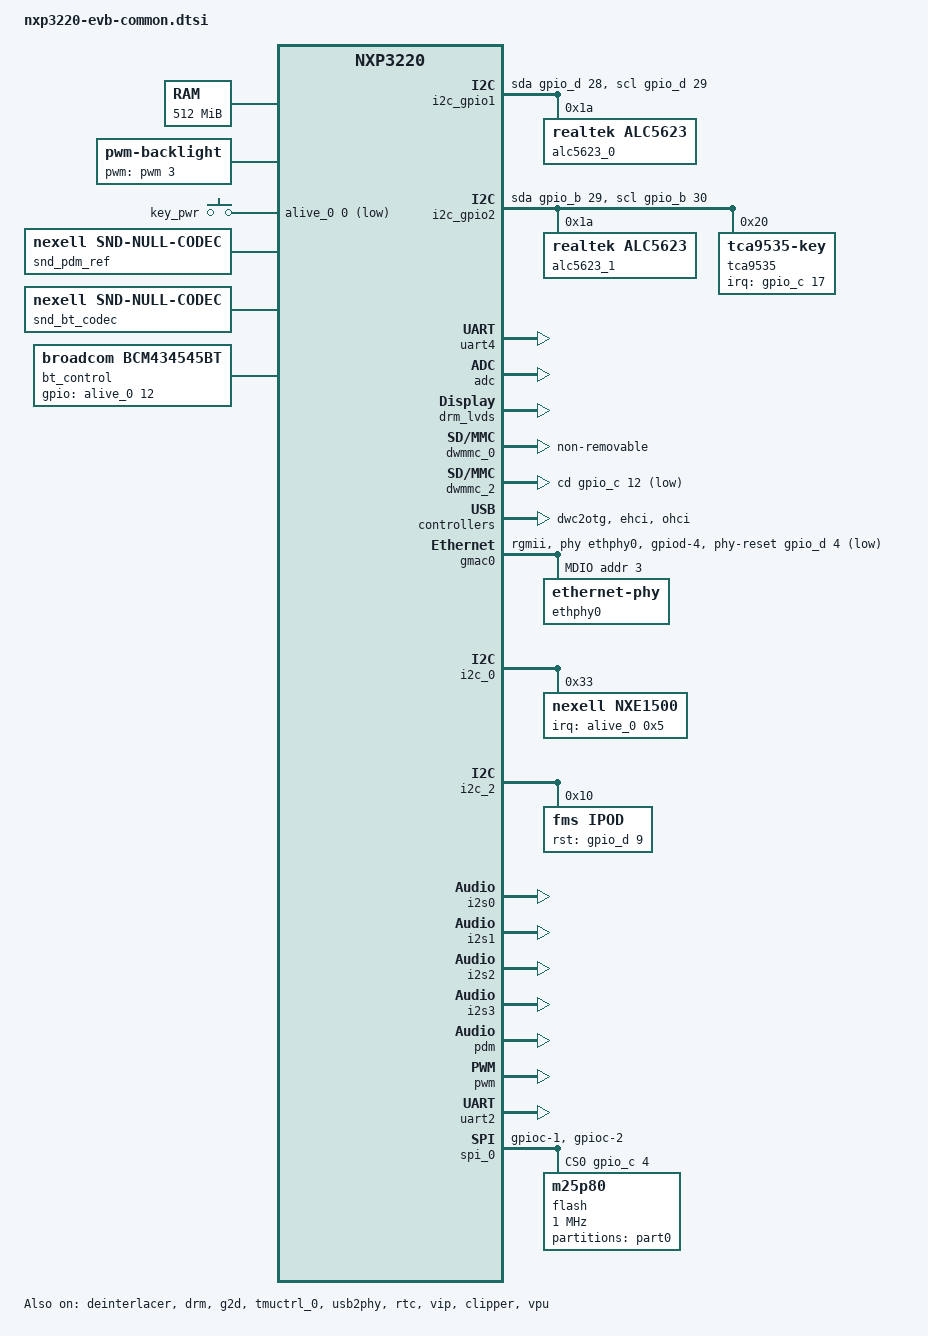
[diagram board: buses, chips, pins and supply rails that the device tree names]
// SPDX-License-Identifier: (GPL-2.0+ OR MIT)
/*
 * Copyright (C) 2018  Nexell Co., Ltd.
 * Author: JungHyun, Kim <jhkim@nexell.co.kr>
 */

/dts-v1/;

#include <dt-bindings/gpio/gpio.h>
#include <dt-bindings/input/input.h>
#include "nxp3220.dtsi"

#define PMIC_PDATA_INIT(_id, _rname, _minuv,		\
                        _maxuv, _init_uv, _init_enable,	\
                        _set_init_uV, _slp_slots)	\
                regulator-name = _rname;                \
                regulator-min-microvolt = <_minuv>;     \
                regulator-max-microvolt = <_maxuv>;     \
                nx,id = <_id>;                          \
                nx,init_enable = <_init_enable>;        \
                nx,init_uV = <_init_uv>;                \
                nx,set_init_uV = <_set_init_uV>;        \
                nx,sleep_slots = <_slp_slots>;

/ {
	compatible = "nexell,nxp3220-evb", "nexell,nxp3220";

	chosen {
		stdout-path = &uart2;
	};

	memory@40000000 {
		device_type = "memory";
		reg = <0x40000000 0x20000000>;
	};

	reserved-memory {
		#address-cells = <1>;
		#size-cells = <1>;
		ranges;

		bl32_mem: bl32_mem@5f000000 {
			reg = <0x5f000000 0x1000000>;
			no-map;
		};
	};

	backlight: pwm-backlight {
		compatible = "pwm-backlight";
		pwms = <&pwm 3 20000 1>;
		pwm-names = "pwm-backlight";

		brightness-levels = <30 31 32 33 34 35 36 37 38 39
				40 41 42 43 44 45 46 47 48 49
				50 51 52 53 54 55 56 57 58 59
				60 61 62 63 64 65 66 67 68 69
				70 71 72 73 74 75 76 77 78 79
				80 81 82 83 84 85 86 87 88 89
				90>;
		default-brightness-level = <45>;
		status = "okay";
	};

	gpio_keys {
		compatible = "gpio-keys";
		#address-cells = <1>;
		#size-cells = <0>;
		pinctrl-names = "default";
		pinctrl-0 = <&key_pwr>;

		button@pwr {
			label = "key_pwr";
			gpios = <&alive_0 0 GPIO_ACTIVE_LOW>;
			linux,code = <KEY_POWER>;
			gpio-key,wakeup;
		};
	};

	i2c_gpio1: i2c@1 {
		compatible = "i2c-gpio";
		gpios = <&gpio_d 28 0 /* sda */
			&gpio_d 29 0 /* scl */>;
		i2c-gpio,delay-us = <2>;
		#address-cells = <1>;
		#size-cells = <0>;

		alc5623_0: alc5623@1a {
			#sound-dai-cells = <0>;
			compatible = "realtek,alc5623";
			reg = <0x1a>;
		};
	};

	i2c_gpio2: i2c@2 {
		compatible = "i2c-gpio";
		gpios = <&gpio_b 29 0 /* sda */
			&gpio_b 30 0 /* scl */>;
		i2c-gpio,delay-us = <2>;
		#address-cells = <1>;
		#size-cells = <0>;
	};

	snd_pdm_ref:snd_ref_pdm@0 {
		#sound-dai-cells = <0>;
		compatible = "nexell,snd-null-codec";
		status = "okay";
	};

	snd_bt_codec:snd_bt_codec@0 {
		#sound-dai-cells = <0>;
		compatible = "nexell,snd-null-codec";
		status = "okay";
	};

	sound0: sound0 {
		compatible = "simple-audio-card";
		simple-audio-card,name = "nxp3220 Audio Card ALC5623 0";
		status = "okay";

		simple-audio-card,dai-link@0 {
			mclk-fs = <256>;
			format = "i2s";
			frame-master = <&sndcpu0>;
			bitclock-master = <&sndcpu0>;

			sndcpu0: cpu  {
				sound-dai = <&i2s0 0>;
			};

			sndcodec0: codec {
				sound-dai = <&alc5623_0>;
			};
		};
	};

	sound1: sound1 {
		compatible = "simple-audio-card";
		simple-audio-card,name = "nxp3220 Audio Card ALC5623 1";
		status = "okay";

		simple-audio-card,dai-link@0 {
			mclk-fs = <256>;
			format = "i2s";
			frame-master = <&sndcpu1>;
			bitclock-master = <&sndcpu1>;

			sndcpu1: cpu  {
				sound-dai = <&i2s1 0>;
			};

			sndcodec1: codec {
				sound-dai = <&alc5623_1>;
			};
		};
	};

	sound2: sound2 {
		compatible = "simple-audio-card";
		simple-audio-card,name = "nxp3220 blutooth hs sco";
		status = "okay";

		simple-audio-card,dai-link@0 {
			mclk-fs = <256>;
			format = "i2s";
			frame-master = <&sndcodec2>;
			bitclock-master = <&sndcodec2>;

			sndcpu2: cpu  {
				sound-dai = <&i2s2 0>;
			};

			sndcodec2: codec {
				sound-dai = <&snd_bt_codec>;
			};
		};
	};

	/* PDM Reference IIS */
	sound3: sound3 {
		compatible = "simple-audio-card";
		simple-audio-card,name = "nxp3220 PDM Reference I2S";
		status = "okay";

		simple-audio-card,dai-link@0 {
			mclk-fs = <256>;
			format = "i2s";
			frame-master = <&sndcodec2>;
			bitclock-master = <&sndcodec2>;

			sndcpu3: cpu  {
				sound-dai = <&i2s3 0>;
			};

			sndcodec3: codec {
				sound-dai = <&snd_pdm_ref>;
			};
		};
	};

	sound-pdm {
		compatible = "nexell,nxp3220-pdm-card";
		snd-controller = <&pdm>;
	};

	thermal-zones {
		cpu_thermal: cpu-thermal {
			thermal-sensors = <&tmuctrl_0>;
			polling-delay-passive = <1000>;
			polling-delay = <1000>;
			/*
			trips {
				cpu_alert0: cpu-alert-0 {
					temperature = <40000>;
					hysteresis = <10000>;
					type = "passive";
				};
				cpu_alert1: cpu-alert-1 {
					temperature = <50000>;
					hysteresis = <10000>;
					type = "passive";
				};
				cpu_alert2: cpu-alert-2 {
					temperature = <55000>;
					hysteresis = <10000>;
					type = "passive";
				};
				cpu-crit-0 {
					temperature = <100000>;
					hysteresis = <10000>;
					type = "critical";
				};
			};
			*/
		};
	};

	nx-v4l2 {
		status = "okay";
	};

	bt_control {
		compatible = "broadcom,bcm434545bt";
		gpios = <&alive_0 12 0>;   /* Alive GPIO12 = BT_REG_ON, output */
		pinctrl-names = "bt reg on";
		pinctrl-0 = <&bt_reg_on>;
		status = "okay";
	};
};

&uart4 {
	pinctrl-0 = <&uart4_bus>, <&uart4_hflow>;
	status = "okay";
};

&adc {
	touchscreen-enable;
	ts-sample-time = <4>;
	status = "okay";
};

&deinterlacer {
	status = "okay";
};

&drm {
        status = "okay";
	color-key-disable;
	alphablend-disable;
};

&drm_lvds {
        backlight = <&backlight>;
        backlight-delay = <100>;
	enable-gpios = <&gpio_e 13 GPIO_ACTIVE_HIGH>,
		<&gpio_e 12 GPIO_ACTIVE_HIGH>,
		<&gpio_e 14 GPIO_ACTIVE_HIGH>;
        status = "okay";

	display-timing {
		clock-frequency = <51206400>;
		hactive = <1024>;
		vactive = <600>;
		hfront-porch = <160>;
		hback-porch = <140>;
		hsync-len = <20>;
		vfront-porch = <12>;
		vback-porch = <20>;
		vsync-len = <3>;
	};
};

&dwmmc_0 {
	cap-mmc-highspeed;
	mmc-ddr-3_3v;
	broken-cd;
	non-removable;
	nexell,drive_shift = <0x04>;
	nexell,sample_shift = <0x04>;
	card-detect-delay = <200>;
	disable-wp;
	status = "okay";
};

&dwmmc_1 {
	cap-sd-highspeed;
	nexell,drive_shift = <0x04>;
	nexell,sample_shift = <0x04>;
	card-detect-delay = <200>;
	disable-wp;
	status = "disabled";
};

&dwmmc_2 {
	cap-sd-highspeed;
	cd-gpios = <&gpio_c 12 0>;
	cd-inverted;
	nexell,drive_shift = <0x04>;
	nexell,sample_shift = <0x04>;
	card-detect-delay = <200>;
	disable-wp;
	status = "okay";
};

&dwc2otg {
	status = "okay";
	pinctrl-0 = <&otg_vbus_en>;
	pinctrl-names = "default";
	nouse_idcon = <1>;
};

&ehci {
	status = "okay";
};

&g2d {
	status = "okay";
};

&gmac0 {
	status = "okay";

	pinctrl-names = "default";
	pinctrl-0 = <&gmac0_pins>;
	phy-mode = "rgmii";
	phy-handle = <&ethphy0>;
	phy-reset-gpios = <&gpio_d 4 GPIO_ACTIVE_LOW>;
	phy-intr-gpios = <&alive_0 4 GPIO_ACTIVE_LOW>;
	phy-pme-gpios = <&alive_0 6 GPIO_ACTIVE_LOW>;

	mdio@3 {
		#address-cells = <1>;
		#size-cells = <0>;

		ethphy0: ethernet-phy@3 {
			reg = <3>;
		};
	};
};

&ohci {
	status = "okay";
};

&i2c_0 {
	status = "okay";
	#address-cells = <1>;
	#size-cells = <0>;

	nxe1500: nxe1500@33 {
		compatible = "nexell,nxe1500";
		interrupt-parent = <&alive_0>;
		interrupts = <0x5 IRQ_TYPE_EDGE_FALLING>;
		pinctrl-names = "default";
		pinctrl-0 = <&pmic_irq>;
		reg = <0x33>;

		regulators {
			VCC_DCDC0: dcdc1 {
					PMIC_PDATA_INIT( 0,
					"nxe1500_dcdc1",
					1000000, 1200000,
					1100000, 1, 0, 0x4)
					regulator-always-on;
					regulator-boot-on;
				};

			VCC_DCDC1: dcdc2 {
					PMIC_PDATA_INIT( 1,
					"nxe1500_dcdc2",
					975000, 1000000,
					1000000, 1, 0, 0x4)
					regulator-always-on;
					regulator-boot-on;
				};

			VCC_DCDC2: dcdc3 {
					PMIC_PDATA_INIT( 2,
					"nxe1500_dcdc3",
					1500000, 1500000,
					1500000, 1, 0, 0xF)
					regulator-always-on;
					regulator-boot-on;
				};

			VCC_DCDC3: dcdc4 {
					PMIC_PDATA_INIT( 3,
					"nxe1500_dcdc4",
					1500000, 1500000,
					1500000, 1, 0, 0xF)
					regulator-always-on;
					regulator-boot-on;
				};

			VCC_LDO0: ldo1 {
					PMIC_PDATA_INIT( 5,
					"nxe1500_ldo1",
					3300000, 3300000,
					3300000, 1, 0, 0x2)
					regulator-boot-on;
				};

			VCC_LDO1: ldo2 {
					PMIC_PDATA_INIT( 6,
					"nxe1500_ldo2",
					1800000, 1800000,
					1800000, 1, 0, 0x3)
					regulator-boot-on;
				};

			VCC_LDO2: ldo3 { PMIC_PDATA_INIT( 7,
					"nxe1500_ldo3",
					3300000, 3300000,
					3300000, 1, 0, 0x2)
					regulator-always-on;
					regulator-boot-on;
				};

			VCC_LDO3: ldo4 {
					PMIC_PDATA_INIT( 8,
					"nxe1500_ldo4",
					1500000, 1500000,
					1500000, 1, 0, 0x3)
					regulator-always-on;
					regulator-boot-on;
				};

			VCC_LDO4: ldo5 {
					PMIC_PDATA_INIT( 9,
					"nxe1500_ldo5",
					1000000, 1000000,
					1000000, 1, 0, 0x4)
					regulator-boot-on;
				};

			VCC_RTC0: ldortc1 {
					PMIC_PDATA_INIT(15,
					"nxe1500_rtc1",
					1700000, 3500000,
					1800000, 1, 1, 0xF)
					regulator-always-on;
					regulator-boot-on;
				};

			VCC_RTC1: ldortc2 {
					PMIC_PDATA_INIT(16,
					"nxe1500_rtc2",
					1000000, 3500000,
					1000000, 1, 1, 0xF)
					regulator-always-on;
					regulator-boot-on;
				};

		}; /* regulators */
	}; /* nxe1500@33 */
}; /* &i2c_0 */

&i2c_gpio2 {
	status = "okay";
	#address-cells = <1>;
	#size-cells = <0>;

	alc5623_1: alc5623@1a {
		#sound-dai-cells = <0>;
		compatible = "realtek,alc5623";
		reg = <0x1a>;
	};

	tca9535: tca9535@20 {
		compatible = "tca9535-key";
		#address-cells = <1>;
		#size-cells = <0>;
		reg = <0x20>;
		interrupt-parent = <&gpio_c>;
		interrupts = <17 GPIO_ACTIVE_LOW>;
		ports = <5 6 7>;

		button@1 {
			label = "key1";
			linux,input-type = <EV_KEY>;
			linux,code = <KEY_1>;
		};

		button@2 {
			label = "key2";
			linux,input-type = <EV_KEY>;
			linux,code = <KEY_2>;
		};

		button@3 {
			label = "key3";
			linux,input-type = <EV_KEY>;
			linux,code = <KEY_3>;
		};
	};
};

&i2c_2 { /* ipod */
	#address-cells = <1>;
	#size-cells = <0>;
	status = "okay";

	rate = <400000>;
	retry-delay = <500>;
	retry-cnt = <10>;

	ipod: ipod@10 {
		#sound-dai-cells = <0>;
		compatible = "fms,ipod";
		reg = <0x10>;
		rst-gpios = <&gpio_d 9 0>;
	};
};

&i2s0 {
	frame-bit = <32>;
	supply-mclk-always;
	status = "okay";
};

&i2s1 {
	frame-bit = <32>;
	supply-mclk-always;
	status = "okay";
};

/* BT slave */
&i2s2 {
	status = "okay";
};

/* PDM Reference IIS */
&i2s3 {
	frame-bit = <32>;
	sample-rate = <48000>;
	status = "okay";
};

&i2s3_bus {
	nexell,pins = "gpioc-8", "gpioc-12";
	nexell,pin-pull = <NX_PIN_PULL_UP>;
};

&pdm {
	ref-iis = <3>;
	sample-rate = <16000>;
	status = "okay";
};

&pinctrl_0 {
	gmac0_pins: gmac0_pins {
		gmac0_nrst: gmac-nrst {
			nexell,pins = "gpiod-4";
			nexell,pin-function = <NX_PIN_FUNC0>;
			nexell,pin-pull = <NX_PIN_PULL_UP>;
			nexell,pin-strength = <NX_PIN_STR1>;
		};
	};

	key_pwr: key-pwr {
		nexell,pins = "alive-0";
		nexell,pin-function = <NX_PIN_FUNC0>;
		nexell,pin-pull = <NX_PIN_PULL_UP>;
		nexell,pin-strength = <NX_PIN_STR0>;
	};

	pmic_irq: nxe1500-irq {
		nexell,pins = "alive-1";
		nexell,pin-function = <NX_PIN_FUNC0>;
		nexell,pin-pull = <NX_PIN_PULL_NONE>;
		nexell,pin-strength = <NX_PIN_STR0>;
	};

	spi0_wp: spi0-wp {
		nexell,pins = "gpioc-1";
		nexell,pin-function = <NX_PIN_FUNC0>;
		nexell,pin-pull = <NX_PIN_PULL_UP>;
		nexell,pin-strength = <NX_PIN_STR0>;
	};

	spi0_hold: spi0-hold {
		nexell,pins = "gpioc-2";
		nexell,pin-function = <NX_PIN_FUNC0>;
		nexell,pin-pull = <NX_PIN_PULL_UP>;
		nexell,pin-strength = <NX_PIN_STR0>;
	};

	tp2825_reset: tp2825_reset {
		nexell,pins = "gpioc-6";
		nexell,pin-function = <0>;
		nexell,pin-pull = <2>;
		nexell,pin-strength = <0>;
	};

	bt_reg_on: bt_reg_on {
		nexell,pins = "alive-12";
		nexell,pin-function = <NX_PIN_FUNC0>;
		nexell,pin-pull = <NX_PIN_PULL_NONE>;
		nexell,pin-strength = <NX_PIN_STR0>;
	};
};

&pwm {
	nexell,pwm-outputs = <3>;
	tclk_freq = <100000000>;
	pinctrl-names = "default";
	pinctrl-0 = <&pwm3_pin>;
	status = "okay";
};

&tmuctrl_0 {
	status = "okay";
};

&uart2 {
	status = "okay";
};

&usb2phy {
	status = "okay";
};

&rtc {
	status = "okay";
};

&vip {
	status = "okay";
};

&clipper {
	status = "okay";
	interface_type = <NX_CAPTURE_INTERFACE_PARALLEL>;
	pinctrl-names = "default";
	pinctrl-0 = <&vid1_vclk &vid1_sync &vid1_data_8 &tp2825_reset>;
	gpios = <&gpio_c 6 0>;
	data_order = <NX_VIN_CBY0CRY1>;
	port = <1>;
	external_sync = <0>;
	interlace = <1>;

	sensor {
		type = <NX_CAPTURE_SENSOR_I2C>;
		sensor_name = "tp2825";
		i2c-bus = <&i2c_gpio1>;
		addr = <0x45>;
		out_port = <1>;
		vdelay = <0>;
	};

	power {
		enable_seq = <
			NX_ACTION_START NX_ACTION_TYPE_GPIO 0 1 20 NX_ACTION_END
			>;

		disable_seq = <
			NX_ACTION_START NX_ACTION_TYPE_GPIO 0 0 10 NX_ACTION_END
			>;
	};
};

&vpu {
	status = "okay";
};

&spi_0 {
	status = "okay";
	pinctrl-0 = <&spi0_bus>, <&spi0_wp>, <&spi0_hold>;
	cs-gpios = <&gpio_c 4 0>;

	flash: m25p80 {
		#address-cells = <1>;
		#size-cells = <1>;
		compatible = "m25p80", "jedec,spi-nor";
		reg = <0>;
		spi-max-frequency = <1000000>;
		disable-4byte-address;
		m25p,fast-read;
		spi-cpol;
		spi-cpha;

		partition@0 {
			label = "part0";
			reg = <0x500000 0x7b00000>;
		};
	};
};
